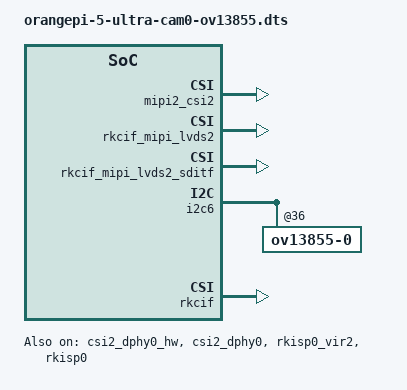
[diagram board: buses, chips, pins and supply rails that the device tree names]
/dts-v1/;
/plugin/;

/ {
	fragment@0 {
		target = <&csi2_dphy0_hw>;
		__overlay__ {
			status = "okay";
		};
	};

	fragment@1 {
		target = <&csi2_dphy0>;
		__overlay__ {
			status = "okay";
		};
	};

	fragment@2 {
		target = <&mipi2_csi2>;
		__overlay__ {
			status = "okay";
		};
	};

	fragment@3 {
		target = <&rkcif_mipi_lvds2>;
		__overlay__ {
			status = "okay";
		};
	};

	fragment@4 {
		target = <&rkcif_mipi_lvds2_sditf>;
		__overlay__ {
			status = "okay";
		};
	};

	fragment@5 {
		target = <&rkisp0_vir2>;
		__overlay__ {
			status = "okay";
		};
	};

	fragment@6 {
		target = <&i2c6>;
		__overlay__ {
			status = "okay";

			ov13855-0@36 {
				status = "okay";
			};
		};
	};

	fragment@7 {
		target = <&rkcif>;
		__overlay__ {
			status = "okay";
		};
	};

	fragment@8 {
		target = <&rkcif_mmu>;
		__overlay__ {
			status = "okay";
		};
	};

	fragment@9 {
		target = <&rkisp0>;
		__overlay__ {
			status = "okay";
		};
	};

	fragment@10 {
		target = <&isp0_mmu>;
		__overlay__ {
			status = "okay";
		};
	};
};
